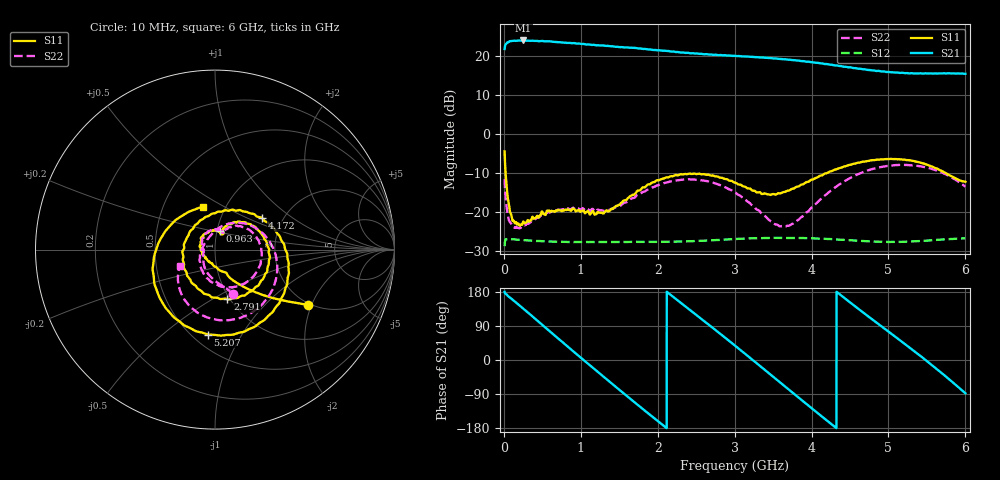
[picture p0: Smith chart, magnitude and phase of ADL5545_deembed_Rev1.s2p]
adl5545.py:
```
from pathlib import Path

import numpy as np
import skrf as rf

import matplotlib.pyplot as plt

from scipy.interpolate import CubicSpline

class ADL5545:
    psat_data = np.array([
        [ 0.5303515928515932, 16.97519397477697 ],
        [ 0.6019327894327897, 17.275760103116234 ],
        [ 0.6735139860139863, 17.572092905704253 ],
        [ 0.7450951825951826, 17.859959056789755 ],
        [ 0.8166763791763794, 18.097025298860167 ],
        [ 0.8882575757575761, 18.28329163191549 ],
        [ 0.9620078995078996, 18.345380409600594 ],
        [ 1.0292508417508421, 18.287172180520805 ],
        [ 1.1030011655011656, 18.236725048651657 ],
        [ 1.1745823620823623, 18.050458715596335 ],
        [ 1.2461635586635587, 17.910758965804845 ],
        [ 1.3177447552447554, 17.787992519018374 ],
        [ 1.3893259518259518, 17.589026208709278 ],
        [ 1.4609071484071485, 17.428159830161505 ],
        [ 1.5324883449883449, 17.25882680011121 ],
        [ 1.6040695415695416, 17.085260444309654 ],
        [ 1.6756507381507384, 16.979427300528222 ],
        [ 1.7472319347319347, 16.87782748249804 ],
        [ 1.8188131313131315, 16.742361058457817 ],
        [ 1.8903943278943278, 16.63652791467638 ],
        [ 1.9641446516446517, 16.47883653044203 ],
        [ 2.031387593887594, 16.253764711333524 ],
        [ 2.1051379176379177, 16.081962241261664 ],
        [ 2.176719114219114, 16.136995476028012 ],
        [ 2.248300310800311, 16.141228801779263 ],
        [ 2.319881507381507, 16.141228801779263 ],
        [ 2.391462703962704, 16.111595521520456 ],
        [ 2.4630439005439007, 16.12006217302298 ],
        [ 2.534625097125097, 15.980362423231483 ],
        [ 2.61038961038961, 15.831893641526683 ],
        [ 2.67778749028749, 15.679796294892206 ],
        [ 2.7493686868686864, 15.540096545100717 ],
        [ 2.820949883449883, 15.425796749816776 ],
        [ 2.89253108003108, 15.328430257537853 ],
        [ 2.9641122766122767, 15.191270503197117 ],
        [ 3.0252816627816626, 14.832707812065621 ],
        [ 3.0535887723387725, 14.936965217928524 ],
        [ 3.1137820512820507, 14.744231303864339 ],
        [ 3.1853632478632474, 14.6383981600829 ],
        [ 3.256944444444444, 14.55796497080901 ],
        [ 3.328525641025641, 14.55796497080901 ],
        [ 3.4001068376068377, 14.532565016301469 ],
        [ 3.4716880341880336, 14.401331918012495 ],
        [ 3.540557821807822, 14.189312853303683 ],
        [ 3.614850427350427, 14.17696565319585 ],
        [ 3.686431623931624, 14.071132509414412 ],
        [ 3.75801282051282, 13.842532918846523 ],
        [ 3.8295940170940166, 13.609700002527369 ],
        [ 3.9011752136752134, 13.406500366467007 ],
        [ 3.974383255633255, 13.199772958947271 ]
    ])

    
    datadir = Path(__file__).parent / "data"

    sparams = rf.Network(datadir / "ADL5545_deembed_Rev1.s2p")
    

    gain = CubicSpline(sparams.f / 1e9, 20 * np.log10(np.abs(sparams.s[:,1,0])))

    psat = CubicSpline(psat_data[:,0], psat_data[:,1])
```
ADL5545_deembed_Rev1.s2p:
! Created Fri Jun 24 08:53:19 2016
# mhz S db R 50
! 2 Port Network Data from SP1.SP block
! freq  dbS11  angS11  dbS21  angS21  dbS12  angS12  dbS22  angS22
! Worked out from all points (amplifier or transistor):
!   5991 points, 10 MHz to 6 GHz, reference 50 ohm
!   highest |S21| = 24.1 dB at 255 MHz (marker M1)
!   |S21| within 3 dB of that: start of sweep to 2.276 GHz
!   unconditionally stable (mu >= 1): 31.69 MHz to end of sweep
!   at 1.008 GHz: K = 1.11, MAG = 23.3 dB, |S12| = -27.6 dB
!   at 3.005 GHz: K = 1.25, MAG = 20.4 dB, |S12| = -26.8 dB
!   at 6 GHz: K = 1.80, MAG = 15.9 dB, |S12| = -26.6 dB
!   S11 on the Smith chart (normalised r, x): 10 MHz: 1.95, -1.90; 963 MHz: 1.03, +0.21; 2.791 GHz: 0.97, -0.59; 4.172 GHz: 1.56, +0.61; 5.207 GHz: 0.59, -0.73; 6 GHz: 0.79, +0.40
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10  -4.36 -30.7  21.87 179.8  -28.65 35.6  -11.49 -68.2
255  -22.36 -161.3  24.06 135.3  -27.11 -35.0  -23.42 173.7
963  -19.48 75.3  23.26 12.6  -27.60 -128.4  -18.94 81.2
1504  -18.05 68.0  22.35 -79.1  -27.57 160.6  -18.39 61.9
2034  -11.58 24.1  21.51 -166.4  -27.55 90.5  -12.83 25.1
2791  -10.90 -76.0  20.29 72.7  -27.06 -10.4  -12.88 -67.6
3005  -12.38 -110.7  20.13 37.9  -26.82 -40.1  -14.86 -97.1
3645  -14.80 113.0  19.25 -68.1  -26.51 -132.6  -23.64 146.0
4172  -10.03 34.1  18.01 -155.2  -26.76 150.1  -15.69 62.2
5207  -6.47 -94.7  15.67 43.3  -27.52 3.7  -7.83 -65.3
6000  -12.15 104.9  15.51 -87.8  -26.65 -117.7  -13.44 -155.7
